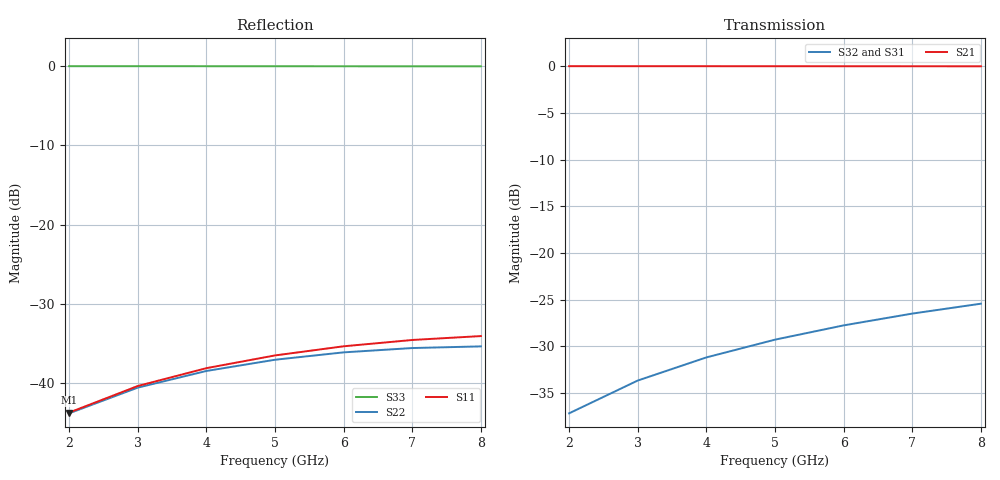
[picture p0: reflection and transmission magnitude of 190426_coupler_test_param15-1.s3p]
! Sonnet Data File
! From: emgraph Version : 16.56
! From Project: 190426_coupler_test
! Data is De-embedded
! Data File Written: 05/06/2019 15:59:44
!< HDATE 04/25/2019 10:48:44
!< MDATE 04/25/2019 10:59:35
!< PARAMS
!< tandelta = 0.0
!< t_aSi = 0.25
!< W = 10.0
!< Lcoupler = 1400.0
!< END PARAMS
# GHZ S MA R 50.0 !  non standard terminations in data
! TERM 50.00000 0.000000 50.00000 0.000000 63.84000 0.000000
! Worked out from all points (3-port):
!   7 points, 2 GHz to 8 GHz, reference 50 ohm
!   strongest paths, dB at 2 GHz, 3 GHz, 5 GHz, 7 GHz, 8 GHz:
!     S21: 0.0, 0.0, 0.0, 0.0, 0.0
!     S32: -37.2, -33.7, -29.3, -26.5, -25.4
!     S31: -37.2, -33.7, -29.4, -26.6, -25.6
!   lowest |S11| = -43.7 dB at 2 GHz (marker M1), VSWR 1.01, Z = 50.3 + j0.599 ohm
!   |S11| at or under -10 dB: start of sweep to end of sweep
2  0.006497 66.6  0.9999 -21.7  0.01384 57.2
   0.9999 -21.7  0.006428 71.6  0.01387 80.6
   0.01384 57.2  0.01387 80.6  0.9998 -20.8
3  0.00956 54.7  0.9997 -32.5  0.02067 40.9
   0.9997 -32.5  0.009338 62.5  0.02077 75.8
   0.02067 40.9  0.02077 75.8  0.9996 -31.2
4  0.01239 42.5  0.9995 -43.4  0.0274 24.5
   0.9995 -43.4  0.0119 53.5  0.02762 71.0
   0.0274 24.5  0.02762 71.0  0.9992 -41.7
5  0.01491 30.0  0.9993 -54.2  0.03399 8.1
   0.9993 -54.2  0.01401 44.6  0.03437 66.1
   0.03399 8.1  0.03437 66.1  0.9988 -52.1
6  0.01703 17.0  0.999 -65.0  0.04041 -8.3
   0.999 -65.0  0.01559 35.8  0.04099 61.2
   0.04041 -8.3  0.04099 61.2  0.9983 -62.6
7  0.01867 3.5  0.9987 -75.9  0.04662 -24.7
   0.9987 -75.9  0.0166 27.4  0.0474 56.2
   0.04662 -24.7  0.0474 56.2  0.9978 -73.1
8  0.01976 -10.7  0.9984 -86.7  0.0526 -41.1
   0.9984 -86.7  0.01701 19.2  0.05355 51.1
   0.0526 -41.1  0.05355 51.1  0.9972 -83.6
